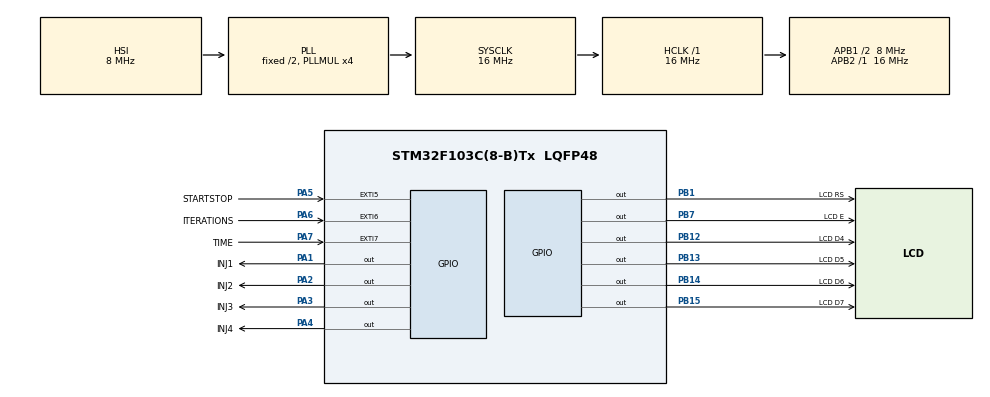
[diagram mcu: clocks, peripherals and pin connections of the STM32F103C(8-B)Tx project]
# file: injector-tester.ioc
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Mcu.Family=STM32F1
Mcu.Name=STM32F103C(8-B)Tx
Mcu.Package=LQFP48
NVIC.EXTI9_5_IRQn=true\:0\:0\:false\:false\:true\:true
NVIC.PriorityGroup=NVIC_PRIORITYGROUP_4
NVIC.TIM1_UP_IRQn=true\:0\:0\:false\:false\:true\:true
PA1.GPIO_Label=INJ1
PA1.Signal=GPIO_Output
PA13.Mode=Serial_Wire
PA13.Signal=SYS_JTMS-SWDIO
PA14.Mode=Serial_Wire
PA14.Signal=SYS_JTCK-SWCLK
PA2.GPIO_Label=INJ2
PA2.Signal=GPIO_Output
PA3.GPIO_Label=INJ3
PA3.Signal=GPIO_Output
PA4.GPIO_Label=INJ4
PA4.Signal=GPIO_Output
PA5.GPIO_Label=STARTSTOP
PA5.GPIO_ModeDefaultEXTI=GPIO_MODE_IT_FALLING
PA5.GPIO_PuPd=GPIO_PULLUP
PA5.Signal=GPXTI5
PA6.GPIO_Label=ITERATIONS
PA6.GPIO_ModeDefaultEXTI=GPIO_MODE_IT_FALLING
PA6.GPIO_PuPd=GPIO_PULLUP
PA6.Signal=GPXTI6
PA7.GPIO_Label=TIME
PA7.GPIO_ModeDefaultEXTI=GPIO_MODE_IT_FALLING
PA7.GPIO_PuPd=GPIO_PULLUP
PA7.Signal=GPXTI7
PB1.GPIO_Label=LCD RS
PB1.Signal=GPIO_Output
PB12.GPIO_Label=LCD D4
PB12.Signal=GPIO_Output
PB13.GPIO_Label=LCD D5
PB13.Signal=GPIO_Output
PB14.GPIO_Label=LCD D6
PB14.Signal=GPIO_Output
PB15.GPIO_Label=LCD D7
PB15.Signal=GPIO_Output
PB7.GPIO_Label=LCD E
PB7.Signal=GPIO_Output
PD0-OSC_IN.Mode=HSE-External-Oscillator
PD0-OSC_IN.Signal=RCC_OSC_IN
PD1-OSC_OUT.Mode=HSE-External-Oscillator
PD1-OSC_OUT.Signal=RCC_OSC_OUT
ProjectManager.HeapSize=0x200
ProjectManager.StackSize=0x400
ProjectManager.TargetToolchain=SW4STM32
RCC.AHBFreq_Value=16000000
RCC.APB1CLKDivider=RCC_HCLK_DIV2
RCC.APB1Freq_Value=8000000
RCC.APB1TimFreq_Value=16000000
RCC.APB2Freq_Value=16000000
RCC.APB2TimFreq_Value=16000000
RCC.HCLKFreq_Value=16000000
RCC.HSE_VALUE=8000000
RCC.PLLMUL=RCC_PLL_MUL4
RCC.SYSCLKFreq_VALUE=16000000
RCC.SYSCLKSource=RCC_SYSCLKSOURCE_PLLCLK
RCC.USBFreq_Value=16000000
TIM1.Period=999
TIM1.Prescaler=16
VP_TIM1_VS_ClockSourceINT.Mode=Internal
board=injector-tester

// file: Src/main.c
/**
 ******************************************************************************
 * File Name          : main.c
 * Description        : Main program body
 ******************************************************************************
 ** This notice applies to any and all portions of this file
 * that are not between comment pairs USER CODE BEGIN and
 * USER CODE END. Other portions of this file, whether
 * inserted by the user or by software development tools
 * are owned by their respective copyright owners.
 *
 * COPYRIGHT(c) 2017 STMicroelectronics
 *
 * Redistribution and use in source and binary forms, with or without modification,
 * are permitted provided that the following conditions are met:
 *   1. Redistributions of source code must retain the above copyright notice,
 *      this list of conditions and the following disclaimer.
 *   2. Redistributions in binary form must reproduce the above copyright notice,
 *      this list of conditions and the following disclaimer in the documentation
 *      and/or other materials provided with the distribution.
 *   3. Neither the name of STMicroelectronics nor the names of its contributors
 *      may be used to endorse or promote products derived from this software
 *      without specific prior written permission.
 *
 * THIS SOFTWARE IS PROVIDED BY THE COPYRIGHT HOLDERS AND CONTRIBUTORS "AS IS"
 * AND ANY EXPRESS OR IMPLIED WARRANTIES, INCLUDING, BUT NOT LIMITED TO, THE
 * IMPLIED WARRANTIES OF MERCHANTABILITY AND FITNESS FOR A PARTICULAR PURPOSE ARE
 * DISCLAIMED. IN NO EVENT SHALL THE COPYRIGHT HOLDER OR CONTRIBUTORS BE LIABLE
 * FOR ANY DIRECT, INDIRECT, INCIDENTAL, SPECIAL, EXEMPLARY, OR CONSEQUENTIAL
 * DAMAGES (INCLUDING, BUT NOT LIMITED TO, PROCUREMENT OF SUBSTITUTE GOODS OR
 * SERVICES; LOSS OF USE, DATA, OR PROFITS; OR BUSINESS INTERRUPTION) HOWEVER
 * CAUSED AND ON ANY THEORY OF LIABILITY, WHETHER IN CONTRACT, STRICT LIABILITY,
 * OR TORT (INCLUDING NEGLIGENCE OR OTHERWISE) ARISING IN ANY WAY OUT OF THE USE
 * OF THIS SOFTWARE, EVEN IF ADVISED OF THE POSSIBILITY OF SUCH DAMAGE.
 *
 ******************************************************************************
 */

#include "main.h"
#include "stm32f1xx_hal.h"

/* USER CODE BEGIN Includes */
#include "../SW4STM32/injector-tester/Application/User/lcd.h"
//#include <stdio.h>
/* USER CODE END Includes */

TIM_HandleTypeDef htim1;

/* USER CODE BEGIN PV */
/* Private variables ---------------------------------------------------------*/
#define INJPORT GPIOA

int loop = 0; //1 loop = 1ms
int loopsLimit = 2;
int injector = 0; //injector no 0-3
int isEnabled = 0;
int iteration;
int iterationsLimit = 2000; //injection cycles
/* USER CODE END PV */

void SystemClock_Config(void);
static void MX_GPIO_Init(void);
static void MX_TIM1_Init(void);

/* USER CODE BEGIN PFP */
/* Private function prototypes -----------------------------------------------*/
void HAL_GPIO_EXTI_Callback(uint16_t GPIO_Pin);
void HAL_TIM_PeriodElapsedCallback(TIM_HandleTypeDef *htim);
/* USER CODE END PFP */

int main(void)
{

	/* MCU Configuration----------------------------------------------------------*/

	/* Reset of all peripherals, Initializes the Flash interface and the Systick. */
	HAL_Init();

	/* Configure the system clock */
	SystemClock_Config();

	/* Initialize all configured peripherals */
	MX_GPIO_Init();
	MX_TIM1_Init();

	/* USER CODE BEGIN 2 */
	HAL_TIM_Base_Start_IT(&htim1);
	lcdInit();
	lcdWriteText("Tester");
	lcdGoTo(0, 1);
	lcdWriteText("Wtryskiwaczy");
	HAL_Delay(3000);
	lcdWriteCommand(HD44780_CLEAR); // clear DDRAM
	HAL_Delay(1);

	lcdGoTo(2, 0);
	lcdWriteText("ms");
	lcdGoTo(9, 0);
	lcdWriteText("cykli");
	lcdGoTo(5, 1);
	lcdWriteText("cykl");
	char str[4];
	/* USER CODE END 2 */

	/* Infinite loop */
	while (1)
	{
		if (!isEnabled){
		lcdGoTo(0, 0);
		sprintf(str, "%2d", loopsLimit);
		lcdWriteText(str);
		lcdGoTo(5, 0);
		sprintf(str, "%4d", iterationsLimit);
		lcdWriteText(str);
		lcdGoTo(0, 1);
		lcdWriteText("   0");
		}
		else{
			lcdGoTo(0, 1);
			sprintf(str, "%4d", iteration); //show current iteration
			lcdWriteText(str);
		}
	}

}

/** System Clock Configuration
 */
void SystemClock_Config(void)
{

	RCC_OscInitTypeDef RCC_OscInitStruct;
	RCC_ClkInitTypeDef RCC_ClkInitStruct;

	/**Initializes the CPU, AHB and APB busses clocks
	 */
	RCC_OscInitStruct.OscillatorType = RCC_OSCILLATORTYPE_HSI;
	RCC_OscInitStruct.HSIState = RCC_HSI_ON;
	RCC_OscInitStruct.HSICalibrationValue = 16;
	RCC_OscInitStruct.PLL.PLLState = RCC_PLL_ON;
	RCC_OscInitStruct.PLL.PLLSource = RCC_PLLSOURCE_HSI_DIV2;
	RCC_OscInitStruct.PLL.PLLMUL = RCC_PLL_MUL4;
	if (HAL_RCC_OscConfig(&RCC_OscInitStruct) != HAL_OK)
	{
		_Error_Handler(__FILE__, __LINE__);
	}

	/**Initializes the CPU, AHB and APB busses clocks
	 */
	RCC_ClkInitStruct.ClockType = RCC_CLOCKTYPE_HCLK|RCC_CLOCKTYPE_SYSCLK
			|RCC_CLOCKTYPE_PCLK1|RCC_CLOCKTYPE_PCLK2;
	RCC_ClkInitStruct.SYSCLKSource = RCC_SYSCLKSOURCE_PLLCLK;
	RCC_ClkInitStruct.AHBCLKDivider = RCC_SYSCLK_DIV1;
	RCC_ClkInitStruct.APB1CLKDivider = RCC_HCLK_DIV2;
	RCC_ClkInitStruct.APB2CLKDivider = RCC_HCLK_DIV1;

	if (HAL_RCC_ClockConfig(&RCC_ClkInitStruct, FLASH_LATENCY_0) != HAL_OK)
	{
		_Error_Handler(__FILE__, __LINE__);
	}

	/**Configure the Systick interrupt time
	 */
	HAL_SYSTICK_Config(HAL_RCC_GetHCLKFreq()/1000);

	/**Configure the Systick
	 */
	HAL_SYSTICK_CLKSourceConfig(SYSTICK_CLKSOURCE_HCLK);

	/* SysTick_IRQn interrupt configuration */
	HAL_NVIC_SetPriority(SysTick_IRQn, 0, 0);
}

/* TIM1 init function */
static void MX_TIM1_Init(void)
{

	TIM_ClockConfigTypeDef sClockSourceConfig;
	TIM_MasterConfigTypeDef sMasterConfig;

	htim1.Instance = TIM1;
	htim1.Init.Prescaler = 16;
	htim1.Init.CounterMode = TIM_COUNTERMODE_UP;
	htim1.Init.Period = 999;
	htim1.Init.ClockDivision = TIM_CLOCKDIVISION_DIV1;
	htim1.Init.RepetitionCounter = 0;
	htim1.Init.AutoReloadPreload = TIM_AUTORELOAD_PRELOAD_DISABLE;
	if (HAL_TIM_Base_Init(&htim1) != HAL_OK)
	{
		_Error_Handler(__FILE__, __LINE__);
	}

	sClockSourceConfig.ClockSource = TIM_CLOCKSOURCE_INTERNAL;
	if (HAL_TIM_ConfigClockSource(&htim1, &sClockSourceConfig) != HAL_OK)
	{
		_Error_Handler(__FILE__, __LINE__);
	}

	sMasterConfig.MasterOutputTrigger = TIM_TRGO_RESET;
	sMasterConfig.MasterSlaveMode = TIM_MASTERSLAVEMODE_DISABLE;
	if (HAL_TIMEx_MasterConfigSynchronization(&htim1, &sMasterConfig) != HAL_OK)
	{
		_Error_Handler(__FILE__, __LINE__);
	}

}

/** Configure pins as
 * Analog
 * Input
 * Output
 * EVENT_OUT
 * EXTI
 */
static void MX_GPIO_Init(void)
{

	GPIO_InitTypeDef GPIO_InitStruct;

	/* GPIO Ports Clock Enable */
	__HAL_RCC_GPIOD_CLK_ENABLE();
	__HAL_RCC_GPIOA_CLK_ENABLE();
	__HAL_RCC_GPIOB_CLK_ENABLE();

	/*Configure GPIO pin Output Level */
	HAL_GPIO_WritePin(GPIOA, INJ1_Pin|INJ2_Pin|INJ3_Pin|INJ4_Pin, GPIO_PIN_RESET);

	/*Configure GPIO pin Output Level */
	HAL_GPIO_WritePin(GPIOB, LCD_RS_Pin|LCD_D4_Pin|LCD_D5_Pin|LCD_D6_Pin
			|LCD_D7_Pin|LCD_E_Pin, GPIO_PIN_RESET);

	/*Configure GPIO pins : INJ1_Pin INJ2_Pin INJ3_Pin INJ4_Pin */
	GPIO_InitStruct.Pin = INJ1_Pin|INJ2_Pin|INJ3_Pin|INJ4_Pin;
	GPIO_InitStruct.Mode = GPIO_MODE_OUTPUT_PP;
	GPIO_InitStruct.Speed = GPIO_SPEED_FREQ_LOW;
	HAL_GPIO_Init(GPIOA, &GPIO_InitStruct);

	/*Configure GPIO pins : STARTSTOP_Pin ITERATIONS_Pin TIME_Pin */
	GPIO_InitStruct.Pin = STARTSTOP_Pin|ITERATIONS_Pin|TIME_Pin;
	GPIO_InitStruct.Mode = GPIO_MODE_IT_FALLING;
	GPIO_InitStruct.Pull = GPIO_PULLUP;
	HAL_GPIO_Init(GPIOA, &GPIO_InitStruct);

	/*Configure GPIO pins : LCD_RS_Pin LCD_D4_Pin LCD_D5_Pin LCD_D6_Pin
                           LCD_D7_Pin LCD_E_Pin */
	GPIO_InitStruct.Pin = LCD_RS_Pin|LCD_D4_Pin|LCD_D5_Pin|LCD_D6_Pin
			|LCD_D7_Pin|LCD_E_Pin;
	GPIO_InitStruct.Mode = GPIO_MODE_OUTPUT_PP;
	GPIO_InitStruct.Speed = GPIO_SPEED_FREQ_LOW;
	HAL_GPIO_Init(GPIOB, &GPIO_InitStruct);

	/* EXTI interrupt init*/
	HAL_NVIC_SetPriority(EXTI9_5_IRQn, 0, 0);
	HAL_NVIC_EnableIRQ(EXTI9_5_IRQn);

}

/* USER CODE BEGIN 4 */

void HAL_GPIO_EXTI_Callback(uint16_t GPIO_Pin){
	if(GPIO_Pin == STARTSTOP_Pin){
		if (!isEnabled) isEnabled = 1;
		//HAL_Delay(20);
	}
	if(GPIO_Pin == ITERATIONS_Pin){
		iterationsLimit+=100;
		if (iterationsLimit > 9999) iterationsLimit = 0;
		//HAL_Delay(20);
	}
	if(GPIO_Pin == TIME_Pin){
		loopsLimit++;
		if (loopsLimit > 16) loopsLimit = 1;
		//HAL_Delay(20);
	}
}

void HAL_TIM_PeriodElapsedCallback(TIM_HandleTypeDef *htim){
	if(htim->Instance == TIM1){
		if (isEnabled)
		{
			loop++;
			if (loop >= loopsLimit) //note: first cycle does nothing
			{
				HAL_GPIO_WritePin(INJPORT, INJ1_Pin, GPIO_PIN_RESET);
				HAL_GPIO_WritePin(INJPORT, INJ2_Pin, GPIO_PIN_RESET);
				HAL_GPIO_WritePin(INJPORT, INJ3_Pin, GPIO_PIN_RESET);
				HAL_GPIO_WritePin(INJPORT, INJ4_Pin, GPIO_PIN_RESET);
				switch (injector){
				case 0:
					HAL_GPIO_WritePin(INJPORT, INJ1_Pin, GPIO_PIN_SET);
					break;
				case 1:
					HAL_GPIO_WritePin(INJPORT, INJ2_Pin, GPIO_PIN_SET);
					break;
				case 2:
					HAL_GPIO_WritePin(INJPORT, INJ3_Pin, GPIO_PIN_SET);
					break;
				case 3:
					HAL_GPIO_WritePin(INJPORT, INJ4_Pin, GPIO_PIN_SET);
					break;
				}

				injector++;
				if (injector > 3) {
					injector = 0;
					iteration++;
				}
				loop = 0;

			}
		}
		if (iteration >= iterationsLimit)
		{
			HAL_GPIO_WritePin(INJPORT, INJ1_Pin, GPIO_PIN_RESET);
			HAL_GPIO_WritePin(INJPORT, INJ2_Pin, GPIO_PIN_RESET);
			HAL_GPIO_WritePin(INJPORT, INJ3_Pin, GPIO_PIN_RESET);
			HAL_GPIO_WritePin(INJPORT, INJ4_Pin, GPIO_PIN_RESET);
			isEnabled = 0;
		    iteration = 0;
		    injector = 0;
		    loop = 0;
		}

	}
}

/* USER CODE END 4 */

void _Error_Handler(char * file, int line)
{
	while(1)
	{
	}
}

/************************ (C) COPYRIGHT STMicroelectronics *****END OF FILE****/
